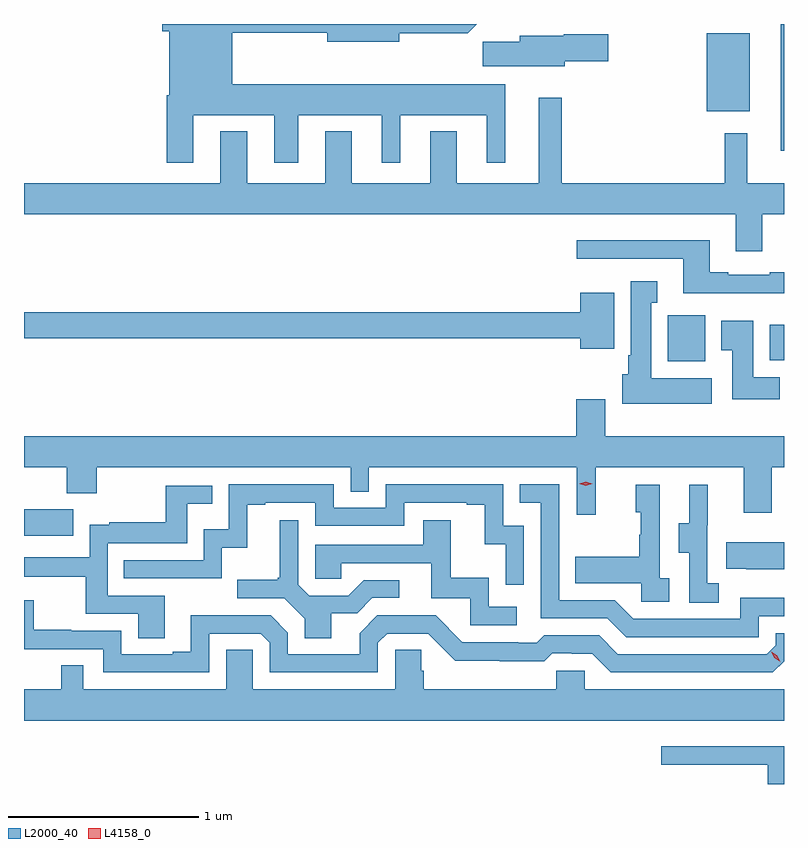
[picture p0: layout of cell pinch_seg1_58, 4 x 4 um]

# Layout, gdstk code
import gdstk
lib = gdstk.Library(unit=1e-6, precision=1e-09)
def R(c, l, rs):  # rectangles x0, y0, x1, y1
    for r in rs: c.add(gdstk.rectangle(r[:2], r[2:], *l))
def P(c, l, *ps):  # polygons
    for p in ps: c.add(gdstk.Polygon(p, *l))
L2000_40 = (2000, 40)
L4158_0 = (4158, 0)

pinch_seg1_58 = lib.new_cell('pinch_seg1_58')
R(pinch_seg1_58, L2000_40, [(1025.834,572.27,1026.031,572.512), (1026.371,572.276,1026.445,572.464), (1026.428,573.38,1026.445,574.046), (1026.038,573.587,1026.265,573.997)])
P(pinch_seg1_58, L2000_40, [(1023.337,573.566),(1023.761,573.566),(1023.761,573.315),(1023.889,573.315),(1023.889,573.566),(1024.328,573.566),(1024.328,573.315),(1024.426,573.315),(1024.426,573.566),(1024.88,573.566),(1024.88,573.315),(1024.978,573.315),(1024.978,573.73),(1023.541,573.73),(1023.541,574),(1024.04,574),(1024.04,573.953),(1024.42,573.953),(1024.42,573.998),(1024.781,573.998),(1024.829,574.046),(1023.173,574.046),(1023.173,574.008),(1023.209,574.008),(1023.209,573.67),(1023.197,573.67),(1023.197,573.315),(1023.337,573.315)],
  [(1025.29,573.851),(1025.521,573.851),(1025.521,573.993),(1025.286,573.993),(1025.286,573.985),(1025.054,573.985),(1025.054,573.953),(1024.86,573.953),(1024.86,573.824),(1025.29,573.824)],
  [(1026.331,573.044),(1026.445,573.044),(1026.445,573.208),(1026.252,573.208),(1026.252,573.472),(1026.133,573.472),(1026.133,573.208),(1025.275,573.208),(1025.275,573.658),(1025.153,573.658),(1025.153,573.208),(1024.723,573.208),(1024.723,573.481),(1024.583,573.481),(1024.583,573.208),(1024.171,573.208),(1024.171,573.481),(1024.031,573.481),(1024.031,573.208),(1023.619,573.208),(1023.619,573.481),(1023.479,573.481),(1023.479,573.208),(1022.445,573.208),(1022.445,573.044),(1026.191,573.044),(1026.191,572.85),(1026.331,572.85)],
  [(1026.445,572.74),(1026.371,572.74),(1026.371,572.727),(1026.151,572.727),(1026.151,572.74),(1026.055,572.74),(1026.055,572.908),(1025.355,572.908),(1025.355,572.811),(1025.915,572.811),(1025.915,572.63),(1026.445,572.63)],
  [(1026.064,572.182),(1025.746,572.182),(1025.746,572.579),(1025.779,572.579),(1025.779,572.692),(1025.639,572.692),(1025.639,572.302),(1025.624,572.302),(1025.624,572.202),(1025.594,572.202),(1025.594,572.048),(1026.064,572.048)],
  [(1025.551,572.632),(1025.372,572.632),(1025.372,572.528),(1022.445,572.528),(1022.445,572.392),(1025.372,572.392),(1025.372,572.336),(1025.551,572.336)],
  [(1026.422,572.188),(1026.283,572.188),(1026.283,572.485),(1026.116,572.485),(1026.116,572.329),(1026.173,572.329),(1026.173,572.07),(1026.422,572.07)],
  [(1025.453,571.712),(1026.233,571.712),(1026.233,571.473),(1026.381,571.473),(1026.381,571.712),(1026.445,571.712),(1026.445,571.876),(1025.503,571.876),(1025.503,572.071),(1025.351,572.071),(1025.351,571.876),(1022.445,571.876),(1022.445,571.712),(1022.669,571.712),(1022.669,571.577),(1022.829,571.577),(1022.829,571.712),(1024.164,571.712),(1024.164,571.585),(1024.26,571.585),(1024.26,571.712),(1025.355,571.712),(1025.355,571.464),(1025.453,571.464)],
  [(1026.312,570.93),(1026.445,570.93),(1026.445,571.027),(1026.216,571.027),(1026.216,570.915),(1025.652,570.915),(1025.553,571.014),(1025.262,571.014),(1025.262,571.623),(1025.053,571.623),(1025.053,571.527),(1025.166,571.527),(1025.166,570.918),(1025.516,570.918),(1025.615,570.819),(1026.312,570.819)],
  [(1025.076,571.404),(1024.968,571.404),(1024.968,571.623),(1024.35,571.623),(1024.35,571.5),(1024.074,571.5),(1024.074,571.623),(1023.522,571.623),(1023.522,571.387),(1023.39,571.387),(1023.39,571.224),(1022.971,571.224),(1022.971,571.128),(1023.486,571.128),(1023.486,571.289),(1023.619,571.289),(1023.619,571.515),(1023.715,571.515),(1023.715,571.527),(1023.978,571.527),(1023.978,571.404),(1024.446,571.404),(1024.446,571.527),(1024.775,571.527),(1024.775,571.515),(1024.871,571.515),(1024.871,571.307),(1024.98,571.307),(1024.98,571.095),(1025.076,571.095)],
  [(1026.102,571.103),(1026.042,571.103),(1026.042,571.407),(1026.044,571.407),(1026.044,571.621),(1025.945,571.621),(1025.945,571.419),(1025.891,571.419),(1025.891,571.264),(1025.946,571.264),(1025.946,571),(1026.102,571)],
  [(1025.842,571.13),(1025.79,571.13),(1025.79,571.621),(1025.666,571.621),(1025.666,571.476),(1025.692,571.476),(1025.692,571.358),(1025.682,571.358),(1025.682,571.243),(1025.347,571.243),(1025.347,571.103),(1025.694,571.103),(1025.694,571.005),(1025.842,571.005)],
  [(1023.187,571.038),(1022.886,571.038),(1022.886,571.314),(1023.303,571.314),(1023.303,571.52),(1023.437,571.52),(1023.437,571.617),(1023.192,571.617),(1023.192,571.423),(1022.893,571.423),(1022.893,571.411),(1022.79,571.411),(1022.79,571.239),(1022.445,571.239),(1022.445,571.138),(1022.77,571.138),(1022.77,570.942),(1023.047,570.942),(1023.047,570.814),(1023.187,570.814)],
  [(1022.705,571.492),(1022.445,571.492),(1022.445,571.353),(1022.491,571.353),(1022.491,571.352),(1022.705,571.352)],
  [(1024.063,570.946),(1024.198,570.946),(1024.278,571.026),(1024.42,571.026),(1024.42,571.119),(1024.232,571.119),(1024.151,571.038),(1023.945,571.038),(1023.888,571.095),(1023.888,571.435),(1023.791,571.435),(1023.791,571.132),(1023.78,571.132),(1023.78,571.12),(1023.567,571.12),(1023.567,571.023),(1023.816,571.023),(1023.923,570.916),(1023.923,570.814),(1024.063,570.814)],
  [(1025.038,570.978),(1024.89,570.978),(1024.89,571.132),(1024.691,571.132),(1024.691,571.435),(1024.547,571.435),(1024.547,571.305),(1023.978,571.305),(1023.978,571.125),(1024.115,571.125),(1024.115,571.209),(1024.589,571.209),(1024.589,571.023),(1024.794,571.023),(1024.794,570.882),(1025.038,570.882)],
  [(1026.445,571.318),(1026.142,571.318),(1026.142,571.178),(1026.247,571.178),(1026.247,571.175),(1026.445,571.175)],
  [(1023.42,570.837),(1023.69,570.837),(1023.738,570.789),(1023.738,570.633),(1024.308,570.633),(1024.308,570.789),(1024.356,570.837),(1024.572,570.837),(1024.714,570.695),(1024.95,570.695),(1024.95,570.693),(1025.183,570.693),(1025.225,570.735),(1025.328,570.735),(1025.328,570.732),(1025.435,570.732),(1025.534,570.633),(1026.387,570.633),(1026.445,570.691),(1026.445,570.84),(1026.402,570.84),(1026.402,570.777),(1026.354,570.729),(1025.571,570.729),(1025.472,570.828),(1025.183,570.828),(1025.144,570.789),(1025.045,570.789),(1025.045,570.792),(1024.752,570.792),(1024.611,570.933),(1024.305,570.933),(1024.211,570.839),(1024.211,570.729),(1023.834,570.729),(1023.834,570.843),(1023.744,570.933),(1023.528,570.933),(1023.528,570.935),(1023.323,570.935),(1023.323,570.742),(1023.227,570.742),(1023.227,570.729),(1022.958,570.729),(1022.958,570.852),(1022.693,570.852),(1022.693,570.857),(1022.497,570.857),(1022.497,571.012),(1022.445,571.012),(1022.445,570.756),(1022.862,570.756),(1022.862,570.633),(1023.42,570.633)],
  [(1022.641,570.671),(1022.641,570.544),(1022.445,570.544),(1022.445,570.38),(1026.445,570.38),(1026.445,570.544),(1025.397,570.544),(1025.397,570.642),(1025.247,570.642),(1025.247,570.544),(1024.55,570.544),(1024.55,570.642),(1024.535,570.642),(1024.535,570.752),(1024.398,570.752),(1024.398,570.544),(1023.648,570.544),(1023.648,570.752),(1023.509,570.752),(1023.509,570.544),(1022.757,570.544),(1022.757,570.671)],
  [(1026.445,570.244),(1025.799,570.244),(1025.799,570.147),(1026.359,570.147),(1026.359,570.046),(1026.445,570.046)])
P(pinch_seg1_58, L4158_0, [(1025.402,571.617),(1025.367,571.627),(1025.367,571.627),(1025.367,571.627),(1025.402,571.637),(1025.437,571.627),(1025.437,571.627),(1025.437,571.627)],
  [(1026.424,570.69),(1026.393,570.71),(1026.378,570.742),(1026.378,570.743),(1026.378,570.743),(1026.408,570.723),(1026.424,570.69),(1026.424,570.69)])

lib.write_gds('pinch_seg1_58.gds')
